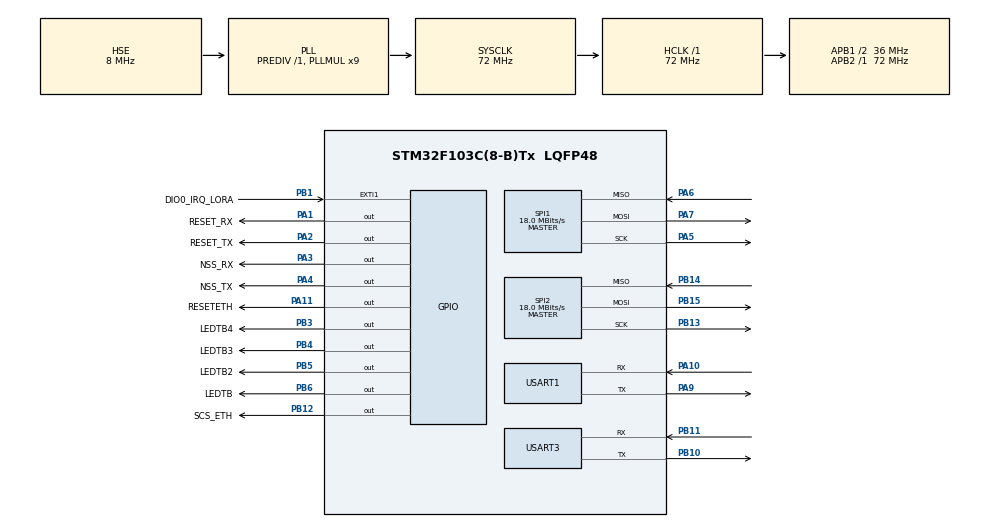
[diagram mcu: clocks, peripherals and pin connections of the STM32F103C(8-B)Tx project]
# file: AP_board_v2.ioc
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Mcu.Family=STM32F1
Mcu.Name=STM32F103C(8-B)Tx
Mcu.Package=LQFP48
NVIC.EXTI1_IRQn=true\:0\:0\:false\:false\:true\:true\:true\:true
NVIC.PriorityGroup=NVIC_PRIORITYGROUP_4
NVIC.TIM1_UP_IRQn=true\:0\:0\:false\:false\:true\:true\:true\:true
NVIC.TIM2_IRQn=true\:0\:0\:false\:false\:true\:true\:true\:true
PA1.GPIO_Label=RESET_RX
PA1.Signal=GPIO_Output
PA10.Mode=Asynchronous
PA10.Signal=USART1_RX
PA11.GPIO_Label=RESETETH
PA11.Signal=GPIO_Output
PA13.Mode=Serial_Wire
PA13.Signal=SYS_JTMS-SWDIO
PA14.Mode=Serial_Wire
PA14.Signal=SYS_JTCK-SWCLK
PA2.GPIO_Label=RESET_TX
PA2.Signal=GPIO_Output
PA3.GPIO_Label=NSS_RX
PA3.Signal=GPIO_Output
PA4.GPIO_Label=NSS_TX
PA4.Signal=GPIO_Output
PA5.Mode=Full_Duplex_Master
PA5.Signal=SPI1_SCK
PA6.Mode=Full_Duplex_Master
PA6.Signal=SPI1_MISO
PA7.Mode=Full_Duplex_Master
PA7.Signal=SPI1_MOSI
PA9.Mode=Asynchronous
PA9.Signal=USART1_TX
PB1.GPIO_Label=DIO0_IRQ_LORA
PB1.Signal=GPXTI1
PB10.Mode=Asynchronous
PB10.Signal=USART3_TX
PB11.Mode=Asynchronous
PB11.Signal=USART3_RX
PB12.GPIO_Label=SCS_ETH
PB12.Signal=GPIO_Output
PB13.Mode=Full_Duplex_Master
PB13.Signal=SPI2_SCK
PB14.Mode=Full_Duplex_Master
PB14.Signal=SPI2_MISO
PB15.Mode=Full_Duplex_Master
PB15.Signal=SPI2_MOSI
PB3.GPIO_Label=LEDTB4
PB3.Signal=GPIO_Output
PB4.GPIO_Label=LEDTB3
PB4.Signal=GPIO_Output
PB5.GPIO_Label=LEDTB2
PB5.Signal=GPIO_Output
PB6.GPIO_Label=LEDTB
PB6.Signal=GPIO_Output
PD0-OSC_IN.Mode=HSE-External-Oscillator
PD0-OSC_IN.Signal=RCC_OSC_IN
PD1-OSC_OUT.Mode=HSE-External-Oscillator
PD1-OSC_OUT.Signal=RCC_OSC_OUT
ProjectManager.HeapSize=0x200
ProjectManager.StackSize=0x400
ProjectManager.TargetToolchain=MDK-ARM V5.32
RCC.AHBFreq_Value=72000000
RCC.APB1CLKDivider=RCC_HCLK_DIV2
RCC.APB1Freq_Value=36000000
RCC.APB1TimFreq_Value=72000000
RCC.APB2Freq_Value=72000000
RCC.APB2TimFreq_Value=72000000
RCC.HCLKFreq_Value=72000000
RCC.PLLMUL=RCC_PLL_MUL9
RCC.PLLSourceVirtual=RCC_PLLSOURCE_HSE
RCC.SYSCLKFreq_VALUE=72000000
RCC.SYSCLKSource=RCC_SYSCLKSOURCE_PLLCLK
RCC.USBFreq_Value=72000000
SPI1.BaudRatePrescaler=SPI_BAUDRATEPRESCALER_4
SPI1.CalculateBaudRate=18.0 MBits/s
SPI1.Direction=SPI_DIRECTION_2LINES
SPI1.Mode=SPI_MODE_MASTER
SPI1.VirtualType=VM_MASTER
SPI2.CalculateBaudRate=18.0 MBits/s
SPI2.Direction=SPI_DIRECTION_2LINES
SPI2.Mode=SPI_MODE_MASTER
SPI2.VirtualType=VM_MASTER
TIM1.Period=999
TIM1.Prescaler=71
TIM2.Prescaler=71
USART1.VirtualMode=VM_ASYNC
USART3.VirtualMode=VM_ASYNC
VP_TIM1_VS_ClockSourceINT.Mode=Internal
VP_TIM2_VS_ClockSourceINT.Mode=Internal
board=custom

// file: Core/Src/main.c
/* USER CODE BEGIN Header */
/**
  ******************************************************************************
  * @file           : main.c
  * @brief          : Main program body
  ******************************************************************************
  * @attention
  *
  * Copyright (c) 2024 STMicroelectronics.
  * All rights reserved.
  *
  * This software is licensed under terms that can be found in the LICENSE file
  * in the root directory of this software component.
  * If no LICENSE file comes with this software, it is provided AS-IS.
  *
  ******************************************************************************
  */
/* USER CODE END Header */
#include "main.h"

/* USER CODE BEGIN Includes */
#include "socket.h"
#include "wizchip_conf.h"
#include "w5500.h"
#include "w5500_spi.h"
#include "data_process.h"

#include <stdarg.h>
#include <string.h>
#include <stdlib.h>
#include <stdio.h>

#include <Lora.h>

/* USER CODE END Includes */

SPI_HandleTypeDef hspi1;
SPI_HandleTypeDef hspi2;

TIM_HandleTypeDef htim1;
TIM_HandleTypeDef htim2;

UART_HandleTypeDef huart1;
UART_HandleTypeDef huart3;

/* USER CODE BEGIN PV */
	/*------------------------------------*/
	uint8_t TX_toPC[DATA_BUF_SIZE];
	uint8_t RX_fromPC[DATA_BUF_SIZE];

	uint8_t des_ip[] = {192,168,1,100};
	uint16_t des_port = 1111;

	/*------------------------------------*/
	LoRa LoRa_TX;
	LoRa LoRa_RX;

	uint8_t TX_toRobot[DATA_BUF_SIZE];
	uint8_t RX_fromRobot[DATA_BUF_SIZE];
	/*------------------------------------*/

	//--------------------------------------
	timeInterval_t vTimeTransfer;
	timeInterval_t vTimeTx;

	//--------------------------------------
	uint32_t time_tick = 0;
	uint32_t tick_whileTrue = 0;
	uint16_t vToggle = 1500;

	uint32_t num_RX_irq_LoRa = 0;

	uint8_t enable_rx = 0;
	uint8_t flag_rx = 0;

	uint16_t flag_led = 0;
	uint16_t flag_autosend = 0;

	uint8_t trans_mess = 0;

	uint8_t check_rx_lora = 0xEE;
	uint8_t check_tx_lora = 0xEE;

	uint16_t result_config_TX = 0xEEEE;
	uint16_t result_config_RX = 0xEEEE;
	uint8_t num_config_lora = 0;

	uint16_t cnt_led_tx = 0, cnt_led_rx = 0;
	uint8_t flag_led_tx = 0, flag_led_rx = 0;

	uint32_t danhan = 0, dagui = 0, miss_mess = 0;

	//---------------------------------
	uint8_t flag_debug_tx = 0;
	uint8_t flag_debug_rx = 0;
	char data_debug_tx[20] = {0};
	char data_debug_rx[20] = {0};

	uint16_t cnt_flag_s = 0;
	uint8_t hour = 0;
	uint8_t minute = 0;
	uint16_t cnt_flag_debug = 0;
	uint8_t flag_debug = 0;
	char data_debug[12];

	uint32_t s = 0;
	uint32_t t = 0;

/* USER CODE END PV */

void SystemClock_Config(void);
static void MX_GPIO_Init(void);
static void MX_TIM1_Init(void);
static void MX_SPI1_Init(void);
static void MX_SPI2_Init(void);
static void MX_USART1_UART_Init(void);
static void MX_USART3_UART_Init(void);
static void MX_TIM2_Init(void);

/* USER CODE BEGIN 0 */

	/*----------------------------------------------------*/
	void TimeOut_Init(timeInterval_t *pTO);
	uint8_t checksum(uint8_t *array, uint8_t size);
	uint32_t getMicroS(void);
	void blinkLedTX(void);
	void blinkLedRX(void);
	/*----------------------------------------------------*/

	void my_printf(const char* format, ...) {
//    va_list args;
//    va_start(args, format);

//    char buffer[256];
//    vsnprintf(buffer, sizeof(buffer), format, args);

//    // Gui du lieu qua UART
//    //HAL_UART_Transmit(&huart1, (uint8_t*)buffer, strlen(buffer), HAL_MAX_DELAY);

//    va_end(args);
	}
	/*----------------------------------------------------*/
	void HAL_GPIO_EXTI_Callback(uint16_t GPIO_Pin) {

		if(GPIO_Pin == LoRa_RX.DIO0_pin){
			num_RX_irq_LoRa++;
			if(enable_rx == 1)
				flag_rx = 1;
		}
	}
	/*----------------------------------------------------*/
	void HAL_TIM_PeriodElapsedCallback(TIM_HandleTypeDef *htim)
	{
		/* Prevent unused argument(s) compilation warning */
		UNUSED(htim);

		if (htim->Instance == htim1.Instance){ 	// every 1ms
			if(++cnt_flag_s >= 60000){
				cnt_flag_s = 0;
				minute++;
				if(minute >= 60){
					minute = 0;
					hour++;
				}
			}
			cnt_flag_debug++;
			if(cnt_flag_debug >= 2000){
				cnt_flag_debug = 0;
				flag_debug = 1;
			}

      flag_led++;
			if(++flag_autosend >= 1000){
				flag_autosend = 0;
				trans_mess = 1;
			}

			blinkLedTX();
			blinkLedRX();

			t = HAL_GetTick() - s;
			s = HAL_GetTick();

    }
		if (htim->Instance == htim2.Instance){ 	// every 65536us
      time_tick++;
			//HAL_GPIO_TogglePin(Test_point_GPIO_Port, Test_point_Pin);
    }
	}

/* USER CODE END 0 */

int main(void)
{

  /* MCU Configuration--------------------------------------------------------*/

  /* Reset of all peripherals, Initializes the Flash interface and the Systick. */
  HAL_Init();

  /* USER CODE BEGIN Init */
	TimeOut_Init(&vTimeTransfer);
	TimeOut_Init(&vTimeTx);
	memset(data_debug, 0x00, 12);

  /* USER CODE END Init */

  /* Configure the system clock */
  SystemClock_Config();

  /* Initialize all configured peripherals */
  MX_GPIO_Init();
  MX_TIM1_Init();
  MX_SPI1_Init();
  MX_SPI2_Init();
  MX_USART1_UART_Init();
  MX_USART3_UART_Init();
  MX_TIM2_Init();
  /* USER CODE BEGIN 2 */
		memset(RX_fromPC, 0x00, DATA_BUF_SIZE);
		memset(TX_toPC, 0x00, DATA_BUF_SIZE);
		HAL_GPIO_WritePin(LEDTB_GPIO_Port, LEDTB_Pin, GPIO_PIN_RESET);
		HAL_GPIO_WritePin(LEDTB2_GPIO_Port, LEDTB2_Pin, GPIO_PIN_SET);
		HAL_GPIO_WritePin(LEDTB3_GPIO_Port, LEDTB3_Pin, GPIO_PIN_SET);
		HAL_GPIO_WritePin(LEDTB4_GPIO_Port, LEDTB4_Pin, GPIO_PIN_SET);

		/*********************************
		 *				Init for W5500
		 *********************************/
		w5500_Init();
		/***w5500_Config only use once when set IP and port***/
		//w5500_Config();

		/*----------------------------------------*/
		/***Make a Server and open a listening port***/
		if(socket(1,Sn_MR_UDP, 1111, 0) != 1){
			my_printf("\r\n Cannot create socket!");
			vToggle = 2000;
		}
		else{
			vToggle = 1000;
			my_printf("\r\nSocket Created Successdully!\r\n");
			uint8_t socket_io_mode =SOCK_IO_BLOCK;
			ctlsocket(1,CS_SET_IOMODE,&socket_io_mode);
			my_printf("Start listening on port %d \r\n",100);
			my_printf("Waiting for a client connection... \r\n");
		}
		uint8_t sr = 0x00;

		/*********************************
		 *				Init for LoRa
		 *********************************/
		Lora_Init(&LoRa_TX, &hspi1, 913, LORA_TX);
		Lora_Init(&LoRa_RX, &hspi1, 913, LORA_RX);
		LoRa_reset(&LoRa_RX);
		LoRa_reset(&LoRa_TX);

		while((result_config_TX != 0x00C8 || result_config_RX != 0x00C8) & (num_config_lora < 10)){
			LoRa_reset(&LoRa_TX);
			result_config_TX = LoRa_Config(&LoRa_TX);

			HAL_Delay(1);

			LoRa_reset(&LoRa_RX);
			result_config_RX = LoRa_Config(&LoRa_RX);

			num_config_lora++;
			HAL_GPIO_WritePin(LEDTB2_GPIO_Port, LEDTB2_Pin, GPIO_PIN_RESET);
		}
		if(num_config_lora >= 10){
			/*Config lora error*/
			HAL_GPIO_WritePin(LEDTB2_GPIO_Port, LEDTB2_Pin, GPIO_PIN_SET);
		}

		LoRa_startReceiving(&LoRa_RX);

		memset(TX_toRobot, 0x00, DATA_BUF_SIZE);
		memset(RX_fromRobot, 0x00, DATA_BUF_SIZE);

		HAL_TIM_Base_Start_IT(&htim1);
		HAL_TIM_Base_Start_IT(&htim2);

  /* USER CODE END 2 */

  /* Infinite loop */
  while (1)
  {

    /* USER CODE BEGIN 3 */

		tick_whileTrue++;

		sr = getSn_SR(1);		//16us
		if(sr == 0x00){		// do not have any client
			vToggle = 1000;
		}

		if(sr == 0x22){				// 0x17 if TCP, 0x22 if UDP
			vToggle = 100;		// open USP listen port successfully

			/*Receiving request/commmed from PC and transmit to robot*/

			uint8_t rx_size = getSn_RX_RSR(1);
			uint8_t len = DATA_BUF_SIZE;

			if(rx_size != 0){
				/*Saturate the size of receiving*/
				if(rx_size < len) len = rx_size;

				/*Get the data from W5500 FIFO*/
				recvfrom(1, (uint8_t *)RX_fromPC, len, des_ip, &des_port);			//330us

				vTimeTransfer.start_time = getMicroS();

				/*Check sum*/
				uint8_t check_byte = checksum(RX_fromPC, DATA_BUF_SIZE);
				if(check_byte == RX_fromPC[DATA_BUF_SIZE-1]){			//mess ok
					for(uint8_t i=0; i<DATA_BUF_SIZE; i++)
						TX_toRobot[i] = RX_fromPC[i];

					/*Disable LoRa_RX*/
					uint8_t mode = LoRa_RX.current_mode;
					LoRa_gotoMode(&LoRa_RX, STNBY_MODE);  //   SLEEP_MODE		// 25us
					enable_rx = 0;

					vTimeTx.start_time = getMicroS();

					/*Send to Robot*/
					check_tx_lora = LoRa_transmit(&LoRa_TX, (uint8_t*)TX_toRobot, DATA_BUF_SIZE, 1000);

					vTimeTx.interval = getMicroS() - vTimeTx.start_time;

					if(check_tx_lora){		// Send to Robot Successfully
						dagui++;
						flag_led_tx = 1;

					}
					else{					/*Send to robot fail*/
						for(uint8_t i=0; i<DATA_BUF_SIZE; i++)
							TX_toPC[i] = RX_fromPC[i];

						/*Response a error message to PC*/
						//sendto(1, (uint8_t *)TX_toPC, DATA_BUF_SIZE, des_ip, des_port);		//UDP		290us
					}

					/*Enable LoRa_RX again*/
					enable_rx = 1;
					LoRa_gotoMode(&LoRa_RX, mode);
				}
				else{			// Wrong mess
					memset(RX_fromPC, 0x00, DATA_BUF_SIZE);
					for(uint8_t i=0; i<DATA_BUF_SIZE; i++)
						TX_toPC[i] = 0xFF;

						/*Response a error message to PC*/
						//sendto(1, (uint8_t *)TX_toPC, DATA_BUF_SIZE, des_ip, des_port);		//UDP		290us
				}
			}

		}
//		/*_______________________________________________________________________________*/
//									/*Receiving response from robot and transmit to PC*/
//		/*_______________________________________________________________________________*/
//
			if(flag_rx == 1){
				flag_rx = 0;

				/*Receive from Robot*/
				check_rx_lora =	LoRa_receive(&LoRa_RX, (uint8_t*)RX_fromRobot, DATA_BUF_SIZE);		//400us

				/*Check sum*/
				uint8_t check_byte = checksum(RX_fromRobot, DATA_BUF_SIZE);
				if(check_byte == RX_fromRobot[DATA_BUF_SIZE-1]){			// mess ok
					danhan++;

					flag_debug_rx = 1;

					for(uint8_t i=0; i<DATA_BUF_SIZE; i++)
						TX_toPC[i] = RX_fromRobot[i];

					/*Send to PC*/
					sendto(1, (uint8_t *)TX_toPC, DATA_BUF_SIZE, des_ip, des_port);		//UDP		290us
					flag_led_rx = 1;

					vTimeTransfer.interval = getMicroS() - vTimeTransfer.start_time;

//					sprintf(data_debug_rx, "TX: %x %x %x %x %x %x %x %x %x %x %x %x\n", TX_toPC[0], TX_toPC[1], TX_toPC[2],
//																													TX_toPC[3], TX_toPC[4], TX_toPC[5], TX_toPC[6], TX_toPC[7], TX_toPC[8],
//																														TX_toPC[9], TX_toPC[10], TX_toPC[11]);
//
//					HAL_UART_Transmit(&huart3, (uint8_t*)data_debug_rx, sizeof(data_debug_rx), HAL_MAX_DELAY);
				}
				else{			// wrong mess
					for(uint8_t i=0; i<DATA_BUF_SIZE; i++)
							TX_toPC[i] = RX_fromPC[i];

						/*Response a error message to PC*/
					//sendto(1, (uint8_t *)TX_toPC, DATA_BUF_SIZE, des_ip, des_port);		//UDP		290us

				}
			}

		/*_______________________________________________________________________________*/
			if(flag_led >= vToggle){
				flag_led = 0;
				HAL_GPIO_TogglePin(LEDTB_GPIO_Port, LEDTB_Pin);
				//HAL_UART_Transmit(&huart3, (uint8_t*)"Hello", 5, HAL_MAX_DELAY);
				miss_mess = dagui - danhan;
			}

/*_______________________________USE FOR TEST________________________________________________*/
			if(trans_mess == 1){
				trans_mess = 0;
				memset(TX_toRobot, 0x00, DATA_BUF_SIZE);

				for(uint8_t i=0; i< DATA_BUF_SIZE-1; i++){
					TX_toRobot[i] = rand() % 100;
					TX_toRobot[DATA_BUF_SIZE-1] += TX_toRobot[i];
				}

				uint8_t mode = LoRa_RX.current_mode;
				LoRa_gotoMode(&LoRa_RX, STNBY_MODE);  //   SLEEP_MODE
				enable_rx = 0;

				vTimeTransfer.start_time = getMicroS();
				vTimeTx.start_time = getMicroS();

				check_tx_lora = LoRa_transmit(&LoRa_TX, (uint8_t*)TX_toRobot, DATA_BUF_SIZE, 1000);

				vTimeTx.interval = getMicroS() - vTimeTx.start_time;

				if(check_tx_lora){
					dagui++;
					flag_debug_tx = 1;
					flag_led_tx = 1;
				}
				enable_rx = 1;

				LoRa_gotoMode(&LoRa_RX, mode);
				//LoRa_RX.current_mode = mode;
			}

/*_______________________________USE FOR TEST________________________________________________*/
//			if(flag_debug_tx){
//				flag_debug_tx = 0;
//				sprintf(data_debug_tx, "TX: %d\n", dagui);
//				HAL_UART_Transmit(&huart3, (uint8_t*)data_debug_tx, sizeof(data_debug_tx), HAL_MAX_DELAY);
//			}
			if(flag_debug){
				flag_debug = 0;

				data_debug[0] = 0xFE;
				data_debug[1] = hour;
				data_debug[2] = minute;
				data_debug[3] = (dagui >> 16) & 0xFF;
				data_debug[4] = (dagui >> 8) & 0xFF;
				data_debug[5] = (dagui >> 0) & 0xFF;
				data_debug[6] = (danhan >> 16) & 0xFF;
				data_debug[7] = (danhan >> 8) & 0xFF;
				data_debug[8] = (danhan >> 0) & 0xFF;
				data_debug[9] = (miss_mess >> 8) & 0xFF;
				data_debug[10] = (miss_mess >> 0) & 0xFF;
				data_debug[11] = 0xFF;

				HAL_UART_Transmit(&huart3, (uint8_t*)data_debug, 12, HAL_MAX_DELAY);

//				sprintf(data_debug_rx, "T=%d,R=%d,M=%d\n", dagui, danhan, miss_mess);
//				HAL_UART_Transmit(&huart3, (uint8_t*)data_debug_rx, 20, HAL_MAX_DELAY);
			}

//		HAL_GPIO_TogglePin(LEDTB_GPIO_Port, LEDTB_Pin);
//		HAL_GPIO_TogglePin(LEDTB2_GPIO_Port, LEDTB2_Pin);
//		HAL_GPIO_TogglePin(LEDTB3_GPIO_Port, LEDTB3_Pin);
//		HAL_GPIO_TogglePin(LEDTB4_GPIO_Port, LEDTB4_Pin);
//		HAL_Delay(100);

  }
  /* USER CODE END 3 */
}

void SystemClock_Config(void)
{
  RCC_OscInitTypeDef RCC_OscInitStruct = {0};
  RCC_ClkInitTypeDef RCC_ClkInitStruct = {0};

  /** Initializes the RCC Oscillators according to the specified parameters
  * in the RCC_OscInitTypeDef structure.
  */
  RCC_OscInitStruct.OscillatorType = RCC_OSCILLATORTYPE_HSE;
  RCC_OscInitStruct.HSEState = RCC_HSE_ON;
  RCC_OscInitStruct.HSEPredivValue = RCC_HSE_PREDIV_DIV1;
  RCC_OscInitStruct.HSIState = RCC_HSI_ON;
  RCC_OscInitStruct.PLL.PLLState = RCC_PLL_ON;
  RCC_OscInitStruct.PLL.PLLSource = RCC_PLLSOURCE_HSE;
  RCC_OscInitStruct.PLL.PLLMUL = RCC_PLL_MUL9;
  if (HAL_RCC_OscConfig(&RCC_OscInitStruct) != HAL_OK)
  {
    Error_Handler();
  }

  /** Initializes the CPU, AHB and APB buses clocks
  */
  RCC_ClkInitStruct.ClockType = RCC_CLOCKTYPE_HCLK|RCC_CLOCKTYPE_SYSCLK
                              |RCC_CLOCKTYPE_PCLK1|RCC_CLOCKTYPE_PCLK2;
  RCC_ClkInitStruct.SYSCLKSource = RCC_SYSCLKSOURCE_PLLCLK;
  RCC_ClkInitStruct.AHBCLKDivider = RCC_SYSCLK_DIV1;
  RCC_ClkInitStruct.APB1CLKDivider = RCC_HCLK_DIV2;
  RCC_ClkInitStruct.APB2CLKDivider = RCC_HCLK_DIV1;

  if (HAL_RCC_ClockConfig(&RCC_ClkInitStruct, FLASH_LATENCY_2) != HAL_OK)
  {
    Error_Handler();
  }
}

static void MX_SPI1_Init(void)
{

  /* SPI1 parameter configuration*/
  hspi1.Instance = SPI1;
  hspi1.Init.Mode = SPI_MODE_MASTER;
  hspi1.Init.Direction = SPI_DIRECTION_2LINES;
  hspi1.Init.DataSize = SPI_DATASIZE_8BIT;
  hspi1.Init.CLKPolarity = SPI_POLARITY_LOW;
  hspi1.Init.CLKPhase = SPI_PHASE_1EDGE;
  hspi1.Init.NSS = SPI_NSS_SOFT;
  hspi1.Init.BaudRatePrescaler = SPI_BAUDRATEPRESCALER_4;
  hspi1.Init.FirstBit = SPI_FIRSTBIT_MSB;
  hspi1.Init.TIMode = SPI_TIMODE_DISABLE;
  hspi1.Init.CRCCalculation = SPI_CRCCALCULATION_DISABLE;
  hspi1.Init.CRCPolynomial = 10;
  if (HAL_SPI_Init(&hspi1) != HAL_OK)
  {
    Error_Handler();
  }

}

static void MX_SPI2_Init(void)
{

  /* SPI2 parameter configuration*/
  hspi2.Instance = SPI2;
  hspi2.Init.Mode = SPI_MODE_MASTER;
  hspi2.Init.Direction = SPI_DIRECTION_2LINES;
  hspi2.Init.DataSize = SPI_DATASIZE_8BIT;
  hspi2.Init.CLKPolarity = SPI_POLARITY_LOW;
  hspi2.Init.CLKPhase = SPI_PHASE_1EDGE;
  hspi2.Init.NSS = SPI_NSS_SOFT;
  hspi2.Init.BaudRatePrescaler = SPI_BAUDRATEPRESCALER_2;
  hspi2.Init.FirstBit = SPI_FIRSTBIT_MSB;
  hspi2.Init.TIMode = SPI_TIMODE_DISABLE;
  hspi2.Init.CRCCalculation = SPI_CRCCALCULATION_DISABLE;
  hspi2.Init.CRCPolynomial = 10;
  if (HAL_SPI_Init(&hspi2) != HAL_OK)
  {
    Error_Handler();
  }

}

static void MX_TIM1_Init(void)
{

  TIM_ClockConfigTypeDef sClockSourceConfig = {0};
  TIM_MasterConfigTypeDef sMasterConfig = {0};

  htim1.Instance = TIM1;
  htim1.Init.Prescaler = 71;
  htim1.Init.CounterMode = TIM_COUNTERMODE_UP;
  htim1.Init.Period = 999;
  htim1.Init.ClockDivision = TIM_CLOCKDIVISION_DIV1;
  htim1.Init.RepetitionCounter = 0;
  htim1.Init.AutoReloadPreload = TIM_AUTORELOAD_PRELOAD_DISABLE;
  if (HAL_TIM_Base_Init(&htim1) != HAL_OK)
  {
    Error_Handler();
  }
  sClockSourceConfig.ClockSource = TIM_CLOCKSOURCE_INTERNAL;
  if (HAL_TIM_ConfigClockSource(&htim1, &sClockSourceConfig) != HAL_OK)
  {
    Error_Handler();
  }
  sMasterConfig.MasterOutputTrigger = TIM_TRGO_RESET;
  sMasterConfig.MasterSlaveMode = TIM_MASTERSLAVEMODE_DISABLE;
  if (HAL_TIMEx_MasterConfigSynchronization(&htim1, &sMasterConfig) != HAL_OK)
  {
    Error_Handler();
  }

}

static void MX_TIM2_Init(void)
{

  TIM_ClockConfigTypeDef sClockSourceConfig = {0};
  TIM_MasterConfigTypeDef sMasterConfig = {0};

  htim2.Instance = TIM2;
  htim2.Init.Prescaler = 71;
  htim2.Init.CounterMode = TIM_COUNTERMODE_UP;
  htim2.Init.Period = 65535;
  htim2.Init.ClockDivision = TIM_CLOCKDIVISION_DIV1;
  htim2.Init.AutoReloadPreload = TIM_AUTORELOAD_PRELOAD_DISABLE;
  if (HAL_TIM_Base_Init(&htim2) != HAL_OK)
  {
    Error_Handler();
  }
  sClockSourceConfig.ClockSource = TIM_CLOCKSOURCE_INTERNAL;
  if (HAL_TIM_ConfigClockSource(&htim2, &sClockSourceConfig) != HAL_OK)
  {
    Error_Handler();
  }
  sMasterConfig.MasterOutputTrigger = TIM_TRGO_RESET;
  sMasterConfig.MasterSlaveMode = TIM_MASTERSLAVEMODE_DISABLE;
  if (HAL_TIMEx_MasterConfigSynchronization(&htim2, &sMasterConfig) != HAL_OK)
  {
    Error_Handler();
  }

}

static void MX_USART1_UART_Init(void)
{

  huart1.Instance = USART1;
  huart1.Init.BaudRate = 115200;
  huart1.Init.WordLength = UART_WORDLENGTH_8B;
  huart1.Init.StopBits = UART_STOPBITS_1;
  huart1.Init.Parity = UART_PARITY_NONE;
  huart1.Init.Mode = UART_MODE_TX_RX;
  huart1.Init.HwFlowCtl = UART_HWCONTROL_NONE;
  huart1.Init.OverSampling = UART_OVERSAMPLING_16;
  if (HAL_UART_Init(&huart1) != HAL_OK)
  {
    Error_Handler();
  }

}

static void MX_USART3_UART_Init(void)
{

  huart3.Instance = USART3;
  huart3.Init.BaudRate = 115200;
  huart3.Init.WordLength = UART_WORDLENGTH_8B;
  huart3.Init.StopBits = UART_STOPBITS_1;
  huart3.Init.Parity = UART_PARITY_NONE;
  huart3.Init.Mode = UART_MODE_TX_RX;
  huart3.Init.HwFlowCtl = UART_HWCONTROL_NONE;
  huart3.Init.OverSampling = UART_OVERSAMPLING_16;
  if (HAL_UART_Init(&huart3) != HAL_OK)
  {
    Error_Handler();
  }

}

static void MX_GPIO_Init(void)
{
  GPIO_InitTypeDef GPIO_InitStruct = {0};

  /* GPIO Ports Clock Enable */
  __HAL_RCC_GPIOD_CLK_ENABLE();
  __HAL_RCC_GPIOA_CLK_ENABLE();
  __HAL_RCC_GPIOB_CLK_ENABLE();

  /*Configure GPIO pin Output Level */
  HAL_GPIO_WritePin(GPIOA, RESET_RX_Pin|RESET_TX_Pin|NSS_RX_Pin|NSS_TX_Pin
                          |RESETETH_Pin, GPIO_PIN_RESET);

  /*Configure GPIO pin Output Level */
  HAL_GPIO_WritePin(GPIOB, SCS_ETH_Pin|LEDTB4_Pin|LEDTB3_Pin|LEDTB2_Pin
                          |LEDTB_Pin, GPIO_PIN_RESET);

  /*Configure GPIO pins : RESET_RX_Pin RESET_TX_Pin NSS_RX_Pin NSS_TX_Pin
                           RESETETH_Pin */
  GPIO_InitStruct.Pin = RESET_RX_Pin|RESET_TX_Pin|NSS_RX_Pin|NSS_TX_Pin
                          |RESETETH_Pin;
  GPIO_InitStruct.Mode = GPIO_MODE_OUTPUT_PP;
  GPIO_InitStruct.Pull = GPIO_NOPULL;
  GPIO_InitStruct.Speed = GPIO_SPEED_FREQ_LOW;
  HAL_GPIO_Init(GPIOA, &GPIO_InitStruct);

  /*Configure GPIO pin : DIO0_IRQ_LORA_Pin */
  GPIO_InitStruct.Pin = DIO0_IRQ_LORA_Pin;
  GPIO_InitStruct.Mode = GPIO_MODE_IT_RISING;
  GPIO_InitStruct.Pull = GPIO_NOPULL;
  HAL_GPIO_Init(DIO0_IRQ_LORA_GPIO_Port, &GPIO_InitStruct);

  /*Configure GPIO pins : SCS_ETH_Pin LEDTB4_Pin LEDTB3_Pin LEDTB2_Pin
                           LEDTB_Pin */
  GPIO_InitStruct.Pin = SCS_ETH_Pin|LEDTB4_Pin|LEDTB3_Pin|LEDTB2_Pin
                          |LEDTB_Pin;
  GPIO_InitStruct.Mode = GPIO_MODE_OUTPUT_PP;
  GPIO_InitStruct.Pull = GPIO_NOPULL;
  GPIO_InitStruct.Speed = GPIO_SPEED_FREQ_LOW;
  HAL_GPIO_Init(GPIOB, &GPIO_InitStruct);

  /* EXTI interrupt init*/
  HAL_NVIC_SetPriority(EXTI1_IRQn, 0, 0);
  HAL_NVIC_EnableIRQ(EXTI1_IRQn);

}

/* USER CODE BEGIN 4 */
	/*----------------------------------------------------*/
		void blinkLedTX(void){
			if(flag_led_tx){
				HAL_GPIO_WritePin(LEDTB3_GPIO_Port, LEDTB3_Pin, GPIO_PIN_RESET);
				if(++cnt_led_tx >= 10){
					HAL_GPIO_WritePin(LEDTB3_GPIO_Port, LEDTB3_Pin, GPIO_PIN_SET);
					flag_led_tx = 0;
					cnt_led_tx = 0;
				}
			}
		}

		void blinkLedRX(void){
			if(flag_led_rx){
				HAL_GPIO_WritePin(LEDTB4_GPIO_Port, LEDTB4_Pin, GPIO_PIN_RESET);
				if(++cnt_led_rx >= 10){
					HAL_GPIO_WritePin(LEDTB4_GPIO_Port, LEDTB4_Pin, GPIO_PIN_SET);
					flag_led_rx = 0;
					cnt_led_rx = 0;
				}
			}
		}

	/*----------------------------------------------------*/
		void TimeOut_Init(timeInterval_t *pTO){
			pTO->start_time = 0;
			pTO->current_time = 0;
			pTO->interval = 0;
		}
	/*----------------------------------------------------*/
		uint8_t checksum(uint8_t *array, uint8_t size){
			uint8_t sum = 0x00;
			for(uint8_t i = 0; i < size-1; i++)
					sum += array[i];
			return sum;
		}
	/*----------------------------------------------------*/
		uint32_t getMicroS(void){
			return time_tick*65536 + __HAL_TIM_GetCounter(&htim2);
		}

/* USER CODE END 4 */

void Error_Handler(void)
{
  __disable_irq();
  while (1)
  {
  }
}
